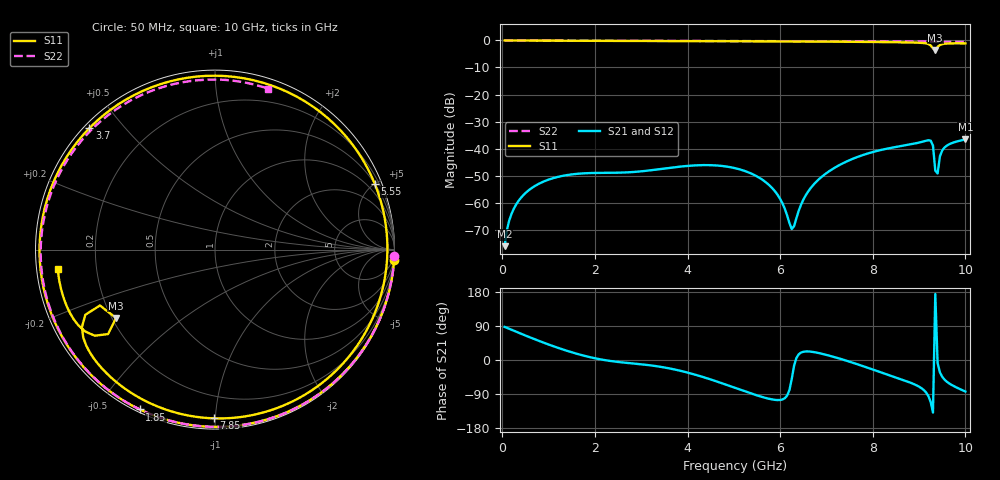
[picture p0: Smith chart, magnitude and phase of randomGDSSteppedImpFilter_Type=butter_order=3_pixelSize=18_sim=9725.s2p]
! freq	dB(S11)	phase(S11)	dB(S12)	phase(S12)
!  dB(S21)	phase(S21)	dB(S22)	phase(S22)
!S-par simulation data
#  GHz  S  DB  R 50
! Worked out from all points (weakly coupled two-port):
!   200 points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, 50 MHz to 10 GHz, reference 50 ohm
!   highest |S21| = -36.63 dB at 10 GHz (marker M1); lowest = -76.1 dB at 50 MHz (marker M2)
!   lowest |S11| = -3.5 dB at 9.35 GHz (marker M3), VSWR 5.07, Z = 10.8 - j14.9 ohm
!   |S11| at or under -10 dB: nowhere
!   |S22| runs from -0.5 to 0.0 dB; largest |S21 - S12| = 0
!   S11 on the Smith chart (normalised r, x): 50 MHz: 0, -35; 1.85 GHz: 0.01, -0.63; 3.7 GHz: 0.02, +0.40; 5.55 GHz: 0.50, +5.00; 7.85 GHz: 0.06, -0.99; 10 GHz: 0.06, -0.06
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0.05  -0.00 -3.3  -76.10 87.4  -76.10 87.4  -0.00 -1.9
0.2  -0.02 -13.0  -64.10 79.7  -64.10 79.7  -0.01 -7.7
0.5  -0.05 -32.3  -56.45 64.6  -56.45 64.6  -0.03 -19.0
1.15  -0.09 -73.1  -50.69 34.3  -50.69 34.3  -0.05 -43.1
1.75  -0.13 -109.3  -49.16 11.7  -49.16 11.7  -0.08 -64.3
1.85  -0.14 -115.2  -49.08 8.7  -49.08 8.7  -0.08 -67.7
2.65  -0.18 -161.8  -48.84 -7.2  -48.84 -7.2  -0.11 -93.5
3.4  -0.22 154.1  -47.60 -17.7  -47.60 -17.7  -0.14 -115.7
3.7  -0.23 136.0  -46.94 -24.5  -46.94 -24.5  -0.15 -124.1
4.4  -0.27 92.8  -46.11 -47.4  -46.11 -47.4  -0.18 -142.8
5.05  -0.31 52.4  -47.34 -74.6  -47.34 -74.6  -0.21 -159.4
5.55  -0.33 22.4  -50.79 -95.4  -50.79 -95.4  -0.24 -171.9
5.95  -0.35 -0.4  -57.24 -105.7  -57.24 -105.7  -0.26 178.2
6.25  -0.37 -16.5  -69.76 -50.3  -69.76 -50.3  -0.28 170.9
6.7  -0.40 -39.3  -53.75 21.4  -53.75 21.4  -0.30 159.8
7.85  -0.54 -90.3  -42.03 -18.8  -42.03 -18.8  -0.38 130.8
8.35  -0.63 -110.6  -39.88 -39.9  -39.88 -39.9  -0.41 117.6
9.25  -1.84 -153.3  -37.07 -110.5  -37.07 -110.5  -0.47 93.1
9.3  -2.94 -154.1  -38.88 -138.7  -38.88 -138.7  -0.47 91.7
9.35  -3.48 -145.3  -48.17 174.3  -48.17 174.3  -0.47 90.4
9.55  -1.21 -150.9  -39.59 -51.9  -39.59 -51.9  -0.47 84.7
10  -1.08 -172.9  -36.63 -83.3  -36.63 -83.3  -0.50 71.8
